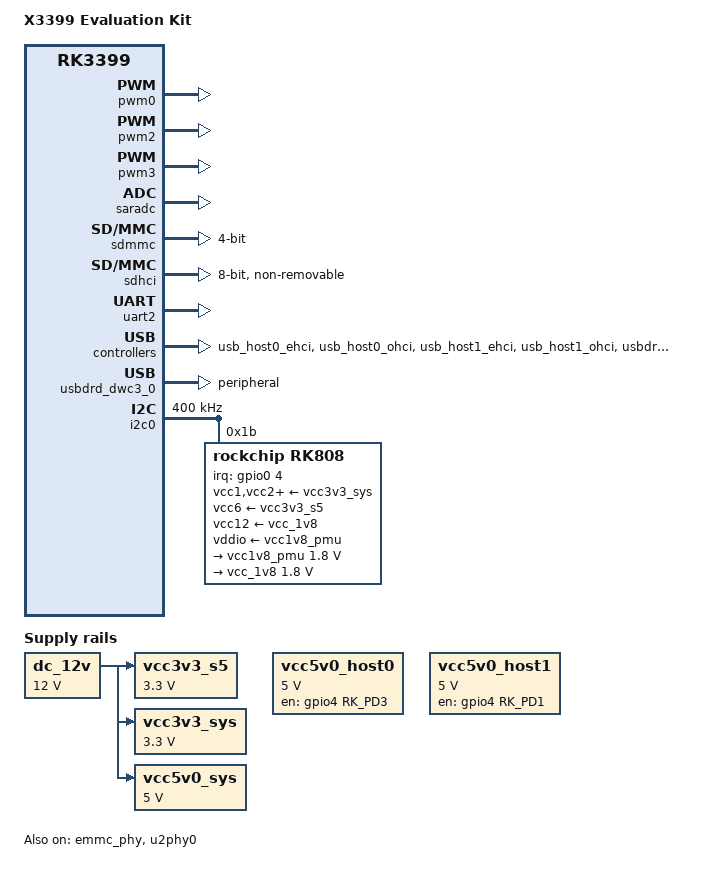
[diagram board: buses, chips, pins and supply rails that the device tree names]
// SPDX-License-Identifier: GPL-2.0+

/dts-v1/;
#include <dt-bindings/pwm/pwm.h>
#include <dt-bindings/pinctrl/rockchip.h>


#include "rk3399.dtsi"
#include "rk3399-sdram-lpddr3-4GB-1600.dtsi"
#include "rk3399-u-boot.dtsi"

/ {
	model = "X3399 Evaluation Kit";
	compatible = "rockchip,x3399evk", "rockchip,rk3399";

	chosen {
		stdout-path = &uart2;
		u-boot,spl-boot-order = &sdhci, &sdmmc;
		u-boot,mmc-env-partition = <1>; 	/* boot0 */
		u-boot,mmc-env-offset = <4161536>;	/* boot0: 4194304 - 32768 */
	};

	/* Board input voltage */
	dc_12v: dc-12v {
		compatible = "regulator-fixed";
		regulator-name = "DC_12V";
		regulator-always-on;
		regulator-boot-on;
		regulator-min-microvolt = <12000000>;
		regulator-max-microvolt = <12000000>;
	};

	/* Standby supply 3.3v */
	vcc3v3_s5: vcc3v3-s5 {
		compatible = "regulator-fixed";
		regulator-name = "VCC3V3_S5";
		regulator-always-on;
		regulator-boot-on;
		regulator-min-microvolt = <3300000>;
		regulator-max-microvolt = <3300000>;
		vin-supply = <&dc_12v>;
	};

	vcc3v3_sys: vcc3v3-sys {
		compatible = "regulator-fixed";
		regulator-name = "VCC3V3_SYS";
		regulator-always-on;
		regulator-boot-on;
		regulator-min-microvolt = <3300000>;
		regulator-max-microvolt = <3300000>;
		vin-supply = <&dc_12v>;
	};

	vcc5v0_sys: vcc5v0-sys {
		compatible = "regulator-fixed";
		regulator-name = "VCC5V0_SYS";
		regulator-always-on;
		regulator-boot-on;
		regulator-min-microvolt = <5000000>;
		regulator-max-microvolt = <5000000>;
		vin-supply = <&dc_12v>;
	};

	vcc5v0_host0: fixedregulator@3 {
		compatible = "regulator-fixed";
		regulator-name = "VCC_5V0_USB_HOST0";
		regulator-min-microvolt = <5000000>;
		regulator-max-microvolt = <5000000>;
		gpio = <&gpio4 RK_PD3 GPIO_ACTIVE_HIGH>;
		enable-active-high;
	};

	vcc5v0_host1: fixedregulator@4 {
		compatible = "regulator-fixed";
		regulator-name = "VCC_5V0_USB_HOST1";
		regulator-min-microvolt = <5000000>;
		regulator-max-microvolt = <5000000>;
		gpio = <&gpio4 RK_PD1 GPIO_ACTIVE_HIGH>;
		enable-active-high;
	};
};

&emmc_phy {
	status = "okay";
};

&pwm0 {
	status = "okay";
};

&pwm2 {
	status = "okay";
};

&pwm3 {
	status = "okay";
};

&saradc {
	status = "okay";
};

&sdmmc {
	bus-width = <4>;
	status = "okay";
};

&sdhci {
	bus-width = <8>;
	mmc-hs400-1_8v;
	mmc-hs400-enhanced-strobe;
	non-removable;
	status = "okay";
};

&uart2 {
	status = "okay";
};

&usb_host0_ehci {
	status = "okay";
};

&usb_host0_ohci {
	status = "okay";
};

&usb_host1_ehci {
	status = "okay";
};

&usb_host1_ohci {
	status = "okay";
};

&usbdrd3_0 {
	status = "okay";
};

&usbdrd_dwc3_0 {
	dr_mode = "peripheral";
	status = "okay";
};

&u2phy0 {
	status = "okay";

	u2phy0_otg: otg-port {
		status = "okay";
	};
};

&i2c0 {
	status = "okay";
	clock-frequency = <400000>;
	i2c-scl-falling-time-ns = <50>;
	i2c-scl-rising-time-ns = <100>;

	rk808: pmic@1b {
		compatible = "rockchip,rk808";
		clock-output-names = "xin32k", "rk808-clkout2";
		interrupt-parent = <&gpio0>;
		interrupts = <4 IRQ_TYPE_LEVEL_LOW>;
		pinctrl-names = "default";
		pinctrl-0 = <&pmic_int_l>;
		reg = <0x1b>;
		rockchip,system-power-controller;
		#clock-cells = <1>;
		status = "okay";

		vcc1-supply = <&vcc3v3_sys>;
		vcc2-supply = <&vcc3v3_sys>;
		vcc3-supply = <&vcc3v3_sys>;
		vcc4-supply = <&vcc3v3_sys>;
		vcc6-supply = <&vcc3v3_s5>;
		vcc7-supply = <&vcc3v3_sys>;
		vcc8-supply = <&vcc3v3_sys>;
		vcc9-supply = <&vcc3v3_sys>;
		vcc10-supply = <&vcc3v3_sys>;
		vcc11-supply = <&vcc3v3_sys>;
		vcc12-supply = <&vcc_1v8>;
		vddio-supply = <&vcc1v8_pmu>;

		regulators {
			vcc1v8_pmu: LDO_REG3 {
				regulator-name = "VCC_1V8_PMU";
				regulator-always-on;
				regulator-boot-on;
				regulator-min-microvolt = <1800000>;
				regulator-max-microvolt = <1800000>;
				regulator-state-mem {
					regulator-on-in-suspend;
					regulator-suspend-microvolt = <1800000>;
				};
			};

			vcc_1v8: DCDC_REG4 {
				regulator-name = "VCC_1V8";
				regulator-always-on;
				regulator-boot-on;
				regulator-min-microvolt = <1800000>;
				regulator-max-microvolt = <1800000>;
				regulator-state-mem {
					regulator-on-in-suspend;
					regulator-suspend-microvolt = <1800000>;
				};
			};
		};
	};
};

&pinctrl {
	pmic {
		pmic_int_l: pmic-int-l {
			rockchip,pins =
				<1 21 RK_FUNC_GPIO &pcfg_pull_up>;
		};

		pmic_dvs2: pmic-dvs2 {
			rockchip,pins =
				<1 18 RK_FUNC_GPIO &pcfg_pull_down>;
		};
	};
};
